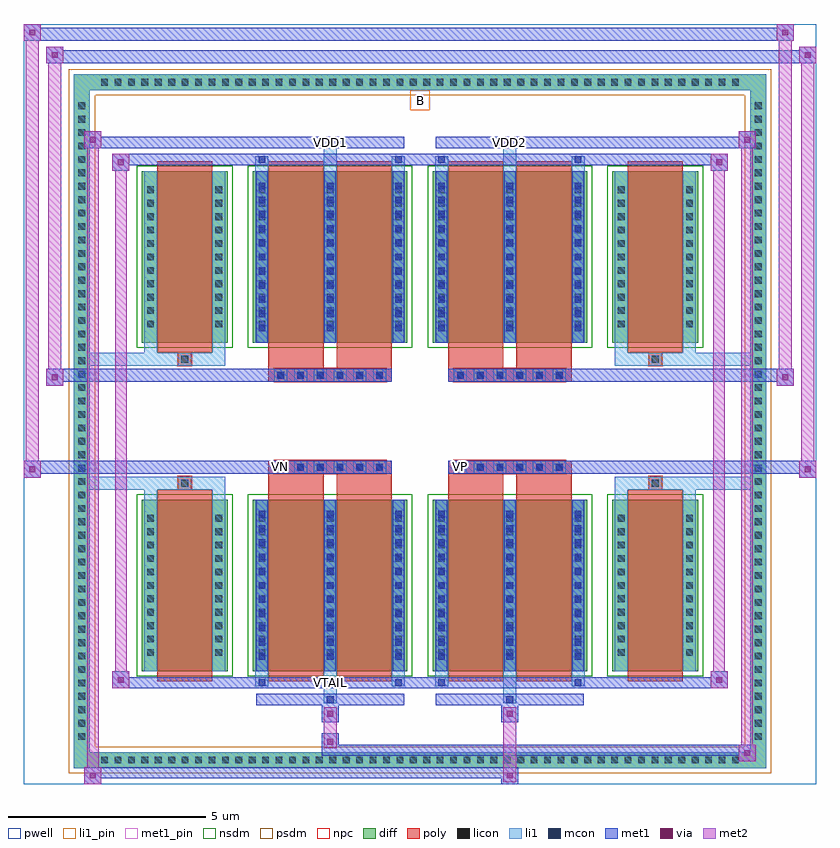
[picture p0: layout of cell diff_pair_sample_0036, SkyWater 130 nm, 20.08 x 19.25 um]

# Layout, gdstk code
import gdstk
lib = gdstk.Library(unit=1e-6, precision=5e-09)
def R(c, l, rs):  # rectangles x0, y0, x1, y1
    for r in rs: c.add(gdstk.rectangle(r[:2], r[2:], *l))
def A(c, l, x, y, w, h, nx, ny, dx, dy):  # array of equal rectangles
    R(c, l, [(x+i*dx, y+j*dy, x+i*dx+w, y+j*dy+h) for i in range(nx) for j in range(ny)])
def P(c, l, *ps):  # polygons
    for p in ps: c.add(gdstk.Polygon(p, *l))
pwell = (64, 44)
diff = (65, 20)
poly = (66, 20)
licon = (66, 44)
li1_pin = (67, 16)
li1 = (67, 20)
mcon = (67, 44)
met1_pin = (68, 16)
met1 = (68, 20)
via = (68, 44)
met2 = (69, 20)
nsdm = (93, 44)
psdm = (94, 20)
npc = (95, 20)

diff_pair_sample_0036 = lib.new_cell('diff_pair_sample_0036')
R(diff_pair_sample_0036, pwell, [(-10.04,-9.19,10.04,10.06), (-7.36,-7.38,-0.01,-0.8), (0.01,-7.38,7.36,-0.8), (-7.36,0.8,-0.01,7.38), (0.01,0.8,7.36,7.38)])
A(diff_pair_sample_0036, diff, -8.195, -8.79, 0.41, 0.41, 48, 2, 0.34, 17.17)
A(diff_pair_sample_0036, diff, -8.77, -8.195, 0.41, 0.41, 1, 48, 0, 0.34)
A(diff_pair_sample_0036, diff, 8.36, -8.195, 0.41, 0.41, 1, 48, 0, 0.34)
R(diff_pair_sample_0036, diff, [(-8.195,-8.79,8.195,-8.38), (-8.77,-8.195,-8.36,8.195), (8.36,-8.195,8.77,8.195), (-7.05,-6.335,-4.87,-1.985), (-4.23,-6.335,-0.32,-1.985), (0.32,-6.335,4.23,-1.985), (4.87,-6.335,7.05,-1.985), (-7.05,1.985,-4.87,6.335), (-4.23,1.985,-0.32,6.335), (0.32,1.985,4.23,6.335), (4.87,1.985,7.05,6.335), (-8.195,8.38,8.195,8.79)])
P(diff_pair_sample_0036, diff, [(8.77,8.79),(-8.77,8.79),(-8.77,-8.38),(-8.36,-8.38),(-8.36,8.38),(8.36,8.38),(8.36,-8.38),(-8.36,-8.38),(-8.77,-8.38),(-8.77,-8.79),(8.77,-8.79)])
A(diff_pair_sample_0036, poly, -3.69, -1.33, 0.33, 0.33, 6, 2, 0.5, 2.33)
A(diff_pair_sample_0036, poly, 0.86, -1.33, 0.33, 0.33, 6, 2, 0.5, 2.33)
R(diff_pair_sample_0036, poly, [(-6.66,-6.585,-5.26,-1.735), (-3.84,-6.585,-2.44,-1.735), (-2.11,-6.585,-0.71,-1.735), (0.71,-6.585,2.11,-1.735), (2.44,-6.585,3.84,-1.735), (5.26,-6.585,6.66,-1.735), (-6.125,-1.735,-5.795,-1.405), (-6.125,-1.735,-5.795,-1.405), (-3.84,-1.735,-2.44,-1.33), (-2.11,-1.735,-0.71,-1.33), (0.71,-1.735,2.11,-1.33), (2.44,-1.735,3.84,-1.33), (5.795,-1.735,6.125,-1.405), (5.795,-1.735,6.125,-1.405), (-3.84,-1.33,-0.71,-1), (0.71,-1.33,3.84,-1), (-3.84,1,-0.71,1.33), (0.71,1,3.84,1.33), (-3.84,1.33,-2.44,1.735), (-2.11,1.33,-0.71,1.735), (0.71,1.33,2.11,1.735), (2.44,1.33,3.84,1.735), (-6.125,1.405,-5.795,1.735), (-6.125,1.405,-5.795,1.735), (5.795,1.405,6.125,1.735), (5.795,1.405,6.125,1.735), (-6.66,1.735,-5.26,6.585), (-3.84,1.735,-2.44,6.585), (-2.11,1.735,-0.71,6.585), (0.71,1.735,2.11,6.585), (2.44,1.735,3.84,6.585), (5.26,1.735,6.66,6.585)])
A(diff_pair_sample_0036, licon, -8.075, -8.67, 0.17, 0.17, 48, 2, 0.34, 17.17)
A(diff_pair_sample_0036, licon, -8.65, -8.075, 0.17, 0.17, 1, 48, 0, 0.34)
A(diff_pair_sample_0036, licon, 8.48, -8.075, 0.17, 0.17, 1, 48, 0, 0.34)
A(diff_pair_sample_0036, licon, -6.91, -5.945, 0.17, 0.17, 1, 11, 0, 0.34)
A(diff_pair_sample_0036, licon, -5.18, -5.945, 0.17, 0.17, 1, 11, 0, 0.34)
A(diff_pair_sample_0036, licon, -4.09, -5.945, 0.17, 0.17, 3, 11, 1.73, 0.34)
A(diff_pair_sample_0036, licon, 0.46, -5.945, 0.17, 0.17, 3, 11, 1.73, 0.34)
A(diff_pair_sample_0036, licon, 5.01, -5.945, 0.17, 0.17, 1, 11, 0, 0.34)
A(diff_pair_sample_0036, licon, 6.74, -5.945, 0.17, 0.17, 1, 11, 0, 0.34)
A(diff_pair_sample_0036, licon, -3.61, -1.25, 0.17, 0.17, 6, 2, 0.5, 2.33)
A(diff_pair_sample_0036, licon, 0.94, -1.25, 0.17, 0.17, 6, 2, 0.5, 2.33)
A(diff_pair_sample_0036, licon, -6.91, 2.375, 0.17, 0.17, 1, 11, 0, 0.34)
A(diff_pair_sample_0036, licon, -5.18, 2.375, 0.17, 0.17, 1, 11, 0, 0.34)
A(diff_pair_sample_0036, licon, -4.09, 2.375, 0.17, 0.17, 3, 11, 1.73, 0.34)
A(diff_pair_sample_0036, licon, 0.46, 2.375, 0.17, 0.17, 3, 11, 1.73, 0.34)
A(diff_pair_sample_0036, licon, 5.01, 2.375, 0.17, 0.17, 1, 11, 0, 0.34)
A(diff_pair_sample_0036, licon, 6.74, 2.375, 0.17, 0.17, 1, 11, 0, 0.34)
R(diff_pair_sample_0036, licon, [(-6.045,-1.655,-5.875,-1.485), (5.875,-1.655,6.045,-1.485), (-6.045,1.485,-5.875,1.655), (5.875,1.485,6.045,1.655)])
R(diff_pair_sample_0036, li1_pin, [(-0.25,7.88,0.25,8.38)])
A(diff_pair_sample_0036, li1, -8.155, -8.75, 0.33, 0.33, 48, 2, 0.34, 17.17)
A(diff_pair_sample_0036, li1, -8.73, -8.155, 0.33, 0.33, 1, 48, 0, 0.34)
A(diff_pair_sample_0036, li1, 8.4, -8.155, 0.33, 0.33, 1, 48, 0, 0.34)
A(diff_pair_sample_0036, li1, -4.17, -6.335, 0.33, 4.35, 3, 2, 1.73, 8.32)
A(diff_pair_sample_0036, li1, 0.38, -6.335, 0.33, 4.35, 3, 2, 1.73, 8.32)
A(diff_pair_sample_0036, li1, -4.09, -6.045, 0.17, 0.17, 3, 11, 1.73, 0.36)
A(diff_pair_sample_0036, li1, -4.09, -6.045, 0.17, 3.77, 3, 2, 1.73, 8.32)
A(diff_pair_sample_0036, li1, 0.46, -6.045, 0.17, 0.17, 3, 11, 1.73, 0.36)
A(diff_pair_sample_0036, li1, 0.46, -6.045, 0.17, 3.77, 3, 2, 1.73, 8.32)
A(diff_pair_sample_0036, li1, -6.99, -6.025, 0.33, 0.33, 1, 11, 0, 0.34)
A(diff_pair_sample_0036, li1, -5.26, -6.025, 0.33, 0.33, 1, 11, 0, 0.34)
A(diff_pair_sample_0036, li1, -4.17, -6.025, 0.33, 0.33, 3, 11, 1.73, 0.34)
A(diff_pair_sample_0036, li1, 0.38, -6.025, 0.33, 0.33, 3, 11, 1.73, 0.34)
A(diff_pair_sample_0036, li1, 4.93, -6.025, 0.33, 0.33, 1, 11, 0, 0.34)
A(diff_pair_sample_0036, li1, 6.66, -6.025, 0.33, 0.33, 1, 11, 0, 0.34)
A(diff_pair_sample_0036, li1, -3.69, -1.33, 0.33, 0.33, 6, 2, 0.5, 2.33)
A(diff_pair_sample_0036, li1, 0.86, -1.33, 0.33, 0.33, 6, 2, 0.5, 2.33)
A(diff_pair_sample_0036, li1, -4.09, 2.275, 0.17, 0.17, 3, 11, 1.73, 0.36)
A(diff_pair_sample_0036, li1, 0.46, 2.275, 0.17, 0.17, 3, 11, 1.73, 0.36)
A(diff_pair_sample_0036, li1, -6.99, 2.295, 0.33, 0.33, 1, 11, 0, 0.34)
A(diff_pair_sample_0036, li1, -5.26, 2.295, 0.33, 0.33, 1, 11, 0, 0.34)
A(diff_pair_sample_0036, li1, -4.17, 2.295, 0.33, 0.33, 3, 11, 1.73, 0.34)
A(diff_pair_sample_0036, li1, 0.38, 2.295, 0.33, 0.33, 3, 11, 1.73, 0.34)
A(diff_pair_sample_0036, li1, 4.93, 2.295, 0.33, 0.33, 1, 11, 0, 0.34)
A(diff_pair_sample_0036, li1, 6.66, 2.295, 0.33, 0.33, 1, 11, 0, 0.34)
R(diff_pair_sample_0036, li1, [(-8.77,-8.79,-8.36,-8.38), (-8.77,-8.79,-8.36,-8.38), (-8.36,-8.79,8.36,-8.38), (8.36,-8.79,8.77,-8.38), (8.36,-8.79,8.77,-8.38), (-8.77,-8.38,-8.36,8.38), (8.36,-8.38,8.77,8.38), (-2.44,-7.14,-2.11,-6.335), (-2.36,-7.14,-2.19,-6.97), (2.11,-7.14,2.44,-6.335), (2.19,-7.14,2.36,-6.97), (-4.17,-6.71,-3.84,-6.335), (-4.09,-6.71,-3.92,-6.54), (-0.71,-6.71,-0.38,-6.335), (-0.63,-6.71,-0.46,-6.54), (0.38,-6.71,0.71,-6.335), (0.46,-6.71,0.63,-6.54), (3.84,-6.71,4.17,-6.335), (3.92,-6.71,4.09,-6.54), (-6.99,-6.335,-6.66,-1.985), (-5.26,-6.335,-4.93,-1.985), (4.93,-6.335,5.26,-1.985), (6.66,-6.335,6.99,-1.985), (-6.99,-1.985,-6.66,-1.405), (-5.26,-1.985,-4.93,-1.405), (4.93,-1.985,5.26,-1.405), (6.66,-1.985,6.99,-1.405), (-8.77,-1.735,-6.125,-1.405), (-6.99,-1.735,-6.125,-1.405), (-6.125,-1.735,-5.795,-1.405), (-5.795,-1.735,-4.93,-1.405), (4.93,-1.735,5.795,-1.405), (5.795,-1.735,6.125,-1.405), (5.795,-1.735,8.77,-1.405), (6.125,-1.735,6.99,-1.405), (-8.77,1.405,-6.125,1.735), (-6.99,1.405,-6.125,1.735), (-6.99,1.405,-6.66,1.985), (-6.125,1.405,-5.795,1.735), (-5.795,1.405,-4.93,1.735), (-5.26,1.405,-4.93,1.985), (4.93,1.405,5.795,1.735), (4.93,1.405,5.26,1.985), (5.795,1.405,6.125,1.735), (5.795,1.405,8.77,1.735), (6.125,1.405,6.99,1.735), (6.66,1.405,6.99,1.985), (-6.99,1.985,-6.66,6.335), (-5.26,1.985,-4.93,6.335), (4.93,1.985,5.26,6.335), (6.66,1.985,6.99,6.335), (-4.17,6.335,-3.84,6.71), (-2.44,6.335,-2.11,7.14), (-0.71,6.335,-0.38,6.71), (0.38,6.335,0.71,6.71), (2.11,6.335,2.44,7.14), (3.84,6.335,4.17,6.71), (-4.09,6.54,-3.92,6.71), (-0.63,6.54,-0.46,6.71), (0.46,6.54,0.63,6.71), (3.92,6.54,4.09,6.71), (-2.36,6.97,-2.19,7.14), (2.19,6.97,2.36,7.14), (-8.77,8.38,-8.36,8.79), (-8.77,8.38,-8.36,8.79), (-8.36,8.38,8.36,8.79), (8.36,8.38,8.77,8.79), (8.36,8.38,8.77,8.79)])
A(diff_pair_sample_0036, mcon, -4.09, -6.045, 0.17, 0.17, 3, 11, 1.73, 0.36)
A(diff_pair_sample_0036, mcon, 0.46, -6.045, 0.17, 0.17, 3, 11, 1.73, 0.36)
A(diff_pair_sample_0036, mcon, -3.61, -1.25, 0.17, 0.17, 6, 2, 0.5, 2.33)
A(diff_pair_sample_0036, mcon, 0.94, -1.25, 0.17, 0.17, 6, 2, 0.5, 2.33)
A(diff_pair_sample_0036, mcon, -4.09, 2.275, 0.17, 0.17, 3, 11, 1.73, 0.36)
A(diff_pair_sample_0036, mcon, 0.46, 2.275, 0.17, 0.17, 3, 11, 1.73, 0.36)
R(diff_pair_sample_0036, mcon, [(-2.36,-7.14,-2.19,-6.97), (2.19,-7.14,2.36,-6.97), (-4.09,-6.71,-3.92,-6.54), (-0.63,-6.71,-0.46,-6.54), (0.46,-6.71,0.63,-6.54), (3.92,-6.71,4.09,-6.54), (-4.09,6.54,-3.92,6.71), (-0.63,6.54,-0.46,6.71), (0.46,6.54,0.63,6.71), (3.92,6.54,4.09,6.71), (-2.36,6.97,-2.19,7.14), (2.19,6.97,2.36,7.14)])
R(diff_pair_sample_0036, met1_pin, [(-2.41,-6.75,-2.14,-6.48), (-3.66,-1.29,-3.39,-1.02), (0.89,-1.29,1.16,-1.02), (-2.41,6.93,-2.14,7.2), (2.14,6.93,2.41,7.2)])
A(diff_pair_sample_0036, met1, -4.15, -6.335, 0.29, 4.35, 3, 2, 1.73, 8.32)
A(diff_pair_sample_0036, met1, 0.4, -6.335, 0.29, 4.35, 3, 2, 1.73, 8.32)
A(diff_pair_sample_0036, met1, -4.15, -6.105, 0.29, 0.29, 3, 11, 1.73, 0.36)
A(diff_pair_sample_0036, met1, 0.4, -6.105, 0.29, 0.29, 3, 11, 1.73, 0.36)
A(diff_pair_sample_0036, met1, -3.67, -1.31, 0.29, 0.29, 6, 2, 0.5, 2.33)
A(diff_pair_sample_0036, met1, 0.88, -1.31, 0.29, 0.29, 6, 2, 0.5, 2.33)
A(diff_pair_sample_0036, met1, -4.15, 2.215, 0.29, 0.29, 3, 11, 1.73, 0.36)
A(diff_pair_sample_0036, met1, 0.4, 2.215, 0.29, 0.29, 3, 11, 1.73, 0.36)
R(diff_pair_sample_0036, met1, [(-8.5,-9.19,-8.07,-8.76), (2.06,-9.19,2.49,-8.76), (-8.5,-9.05,2.49,-8.76), (8.07,-8.62,8.5,-8.19), (-2.49,-8.48,8.5,-8.19), (-2.49,-8.34,-2.06,-7.91), (-2.49,-7.63,-2.06,-7.2), (2.06,-7.63,2.49,-7.2), (-4.15,-7.2,-0.4,-6.91), (-2.42,-7.2,-2.13,-6.91), (0.4,-7.2,4.15,-6.91), (2.13,-7.2,2.42,-6.91), (-7.79,-6.77,-7.36,-6.34), (-7.79,-6.77,-4.15,-6.48), (-4.15,-6.77,-3.86,-6.48), (-4.15,-6.77,-0.4,-6.48), (-0.69,-6.77,-0.4,-6.48), (-0.4,-6.77,0.4,-6.48), (0.4,-6.77,0.69,-6.48), (0.4,-6.77,4.15,-6.48), (3.86,-6.77,4.15,-6.48), (4.15,-6.77,7.79,-6.48), (7.36,-6.77,7.79,-6.34), (-10.04,-1.43,-9.61,-1), (9.61,-1.43,10.04,-1), (-10.04,-1.33,-0.71,-1), (-3.84,-1.33,-0.71,-1), (0.71,-1.33,3.84,-1), (0.71,-1.33,10.04,-1), (-9.47,0.9,-9.04,1.33), (9.04,0.9,9.47,1.33), (-9.47,1,-3.84,1.33), (-3.84,1,-0.71,1.33), (0.71,1,3.84,1.33), (3.84,1,9.47,1.33), (-7.79,6.34,-7.36,6.77), (7.36,6.34,7.79,6.77), (-7.79,6.48,-4.15,6.77), (-4.15,6.48,-3.86,6.77), (-4.15,6.48,-0.4,6.77), (-0.69,6.48,-0.4,6.77), (-0.4,6.48,0.4,6.77), (0.4,6.48,0.69,6.77), (0.4,6.48,4.15,6.77), (3.86,6.48,4.15,6.77), (4.15,6.48,7.79,6.77), (-8.5,6.91,-8.07,7.34), (-8.5,6.91,-4.15,7.2), (-4.15,6.91,-0.4,7.2), (-2.42,6.91,-2.13,7.2), (0.4,6.91,4.15,7.2), (2.13,6.91,2.42,7.2), (4.15,6.91,8.5,7.2), (8.07,6.91,8.5,7.34), (-9.47,9.06,-9.04,9.49), (-9.47,9.06,-7.36,9.39), (-7.36,9.06,7.36,9.39), (7.36,9.06,10.04,9.39), (9.61,9.06,10.04,9.49), (-10.04,9.63,-9.61,10.06), (-10.04,9.63,-7.36,9.96), (-7.36,9.63,7.36,9.96), (7.36,9.63,9.47,9.96), (9.04,9.63,9.47,10.06)])
R(diff_pair_sample_0036, via, [(-8.36,-9.05,-8.21,-8.9), (2.2,-9.05,2.35,-8.9), (8.21,-8.48,8.36,-8.33), (-2.35,-8.2,-2.2,-8.05), (-2.35,-7.49,-2.2,-7.34), (2.2,-7.49,2.35,-7.34), (-7.65,-6.63,-7.5,-6.48), (7.5,-6.63,7.65,-6.48), (-9.9,-1.29,-9.75,-1.14), (9.75,-1.29,9.9,-1.14), (-9.33,1.04,-9.18,1.19), (9.18,1.04,9.33,1.19), (-7.65,6.48,-7.5,6.63), (7.5,6.48,7.65,6.63), (-8.36,7.05,-8.21,7.2), (8.21,7.05,8.36,7.2), (-9.33,9.2,-9.18,9.35), (9.75,9.2,9.9,9.35), (-9.9,9.77,-9.75,9.92), (9.18,9.77,9.33,9.92)])
R(diff_pair_sample_0036, met2, [(-8.5,-9.19,-8.07,-8.76), (-8.43,-9.19,-8.14,7.34), (-8.14,-9.19,-8.07,-8.76), (-8.45,-9.14,-8.12,-8.81), (2.11,-9.14,2.44,-8.81), (2.11,-8.81,2.44,-7.58), (8.07,-8.62,8.5,-8.19), (8.14,-8.62,8.43,7.34), (8.43,-8.62,8.5,-8.19), (8.12,-8.57,8.45,-8.24), (-2.44,-8.29,-2.11,-7.96), (-2.44,-7.96,-2.11,-7.58), (-2.44,-7.58,-2.11,-7.25), (2.11,-7.58,2.44,-7.25), (-7.79,-6.77,-7.36,-6.34), (-7.72,-6.77,-7.43,6.77), (-7.43,-6.77,-7.36,-6.34), (7.36,-6.77,7.79,-6.34), (7.43,-6.77,7.72,6.77), (7.72,-6.77,7.79,-6.34), (-7.74,-6.72,-7.41,-6.39), (7.41,-6.72,7.74,-6.39), (-10.04,-1.43,-9.61,-1), (-9.99,-1.43,-9.66,10.06), (-9.66,-1.43,-9.61,-1), (9.61,-1.43,10.04,-1), (9.66,-1.43,9.99,9.49), (9.99,-1.43,10.04,-1), (-9.99,-1.38,-9.66,-1.05), (9.66,-1.38,9.99,-1.05), (-9.47,0.9,-9.04,1.33), (-9.42,0.9,-9.09,9.49), (-9.09,0.9,-9.04,1.33), (9.04,0.9,9.47,1.33), (9.09,0.9,9.42,10.06), (9.42,0.9,9.47,1.33), (-9.42,0.95,-9.09,1.28), (9.09,0.95,9.42,1.28), (-7.79,6.34,-7.36,6.77), (-7.43,6.34,-7.36,6.77), (7.36,6.34,7.79,6.77), (7.72,6.34,7.79,6.77), (-7.74,6.39,-7.41,6.72), (7.41,6.39,7.74,6.72), (-8.5,6.91,-8.07,7.34), (-8.14,6.91,-8.07,7.34), (8.07,6.91,8.5,7.34), (8.43,6.91,8.5,7.34), (-8.45,6.96,-8.12,7.29), (8.12,6.96,8.45,7.29), (-9.47,9.06,-9.04,9.49), (-9.09,9.06,-9.04,9.49), (9.61,9.06,10.04,9.49), (9.99,9.06,10.04,9.49), (-9.42,9.11,-9.09,9.44), (9.66,9.11,9.99,9.44), (-10.04,9.63,-9.61,10.06), (-9.66,9.63,-9.61,10.06), (9.04,9.63,9.47,10.06), (9.42,9.63,9.47,10.06), (-9.99,9.68,-9.66,10.01), (9.09,9.68,9.42,10.01)])
R(diff_pair_sample_0036, nsdm, [(-7.18,-6.465,-4.74,-1.855), (-4.36,-6.465,-0.19,-1.855), (0.19,-6.465,4.36,-1.855), (4.74,-6.465,7.18,-1.855), (-7.18,1.855,-4.74,6.465), (-4.36,1.855,-0.19,6.465), (0.19,1.855,4.36,6.465), (4.74,1.855,7.18,6.465)])
P(diff_pair_sample_0036, psdm, [(8.9,8.92),(-8.9,8.92),(-8.9,-8.25),(-8.23,-8.25),(-8.23,8.25),(8.23,8.25),(8.23,-8.25),(-8.23,-8.25),(-8.9,-8.25),(-8.9,-8.92),(8.9,-8.92)])
A(diff_pair_sample_0036, npc, -3.71, -1.35, 0.37, 0.37, 6, 2, 0.5, 2.33)
A(diff_pair_sample_0036, npc, 0.84, -1.35, 0.37, 0.37, 6, 2, 0.5, 2.33)
R(diff_pair_sample_0036, npc, [(-6.145,-1.755,-5.775,-1.385), (5.775,-1.755,6.145,-1.385), (-3.71,-1.35,-2.84,-0.98), (-3.71,-1.35,-2.84,-0.98), (-3.21,-1.35,-2.34,-0.98), (-3.21,-1.35,-2.34,-0.98), (-2.71,-1.35,-1.84,-0.98), (-2.71,-1.35,-1.84,-0.98), (-2.21,-1.35,-1.34,-0.98), (-2.21,-1.35,-1.34,-0.98), (-1.71,-1.35,-0.84,-0.98), (-1.71,-1.35,-0.84,-0.98), (0.84,-1.35,1.71,-0.98), (0.84,-1.35,1.71,-0.98), (1.34,-1.35,2.21,-0.98), (1.34,-1.35,2.21,-0.98), (1.84,-1.35,2.71,-0.98), (1.84,-1.35,2.71,-0.98), (2.34,-1.35,3.21,-0.98), (2.34,-1.35,3.21,-0.98), (2.84,-1.35,3.71,-0.98), (2.84,-1.35,3.71,-0.98), (-3.71,0.98,-2.84,1.35), (-3.71,0.98,-2.84,1.35), (-3.21,0.98,-2.34,1.35), (-3.21,0.98,-2.34,1.35), (-2.71,0.98,-1.84,1.35), (-2.71,0.98,-1.84,1.35), (-2.21,0.98,-1.34,1.35), (-2.21,0.98,-1.34,1.35), (-1.71,0.98,-0.84,1.35), (-1.71,0.98,-0.84,1.35), (0.84,0.98,1.71,1.35), (0.84,0.98,1.71,1.35), (1.34,0.98,2.21,1.35), (1.34,0.98,2.21,1.35), (1.84,0.98,2.71,1.35), (1.84,0.98,2.71,1.35), (2.34,0.98,3.21,1.35), (2.34,0.98,3.21,1.35), (2.84,0.98,3.71,1.35), (2.84,0.98,3.71,1.35), (-6.145,1.385,-5.775,1.755), (5.775,1.385,6.145,1.755)])
diff_pair_sample_0036.add(gdstk.Label('VTAIL', (-2.275,-6.615), layer=68, texttype=5))
diff_pair_sample_0036.add(gdstk.Label('VN', (-3.525,-1.155), layer=68, texttype=5))
diff_pair_sample_0036.add(gdstk.Label('VP', (1.025,-1.155), layer=68, texttype=5))
diff_pair_sample_0036.add(gdstk.Label('B', (0,8.13), layer=67, texttype=5))
diff_pair_sample_0036.add(gdstk.Label('VDD2', (2.275,7.065), layer=68, texttype=5))
diff_pair_sample_0036.add(gdstk.Label('VDD1', (-2.275,7.065), layer=68, texttype=5))

lib.write_gds('diff_pair_sample_0036.gds')
